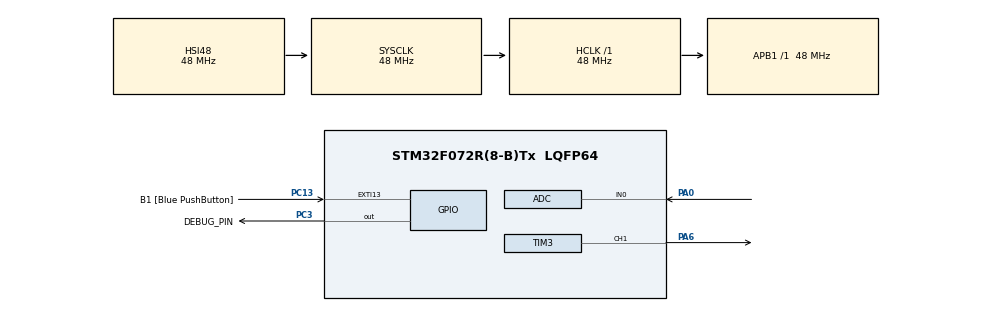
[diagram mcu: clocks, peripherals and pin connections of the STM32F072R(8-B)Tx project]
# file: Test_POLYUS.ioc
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ADC.DMAContinuousRequests=DISABLE
ADC.ExternalTrigConv=ADC_EXTERNALTRIGCONV_T2_TRGO
ADC.SamplingTime=ADC_SAMPLETIME_1CYCLE_5
Dma.ADC.0.Direction=DMA_PERIPH_TO_MEMORY
Dma.ADC.0.Instance=DMA1_Channel1
Dma.ADC.0.MemDataAlignment=DMA_MDATAALIGN_HALFWORD
Dma.ADC.0.MemInc=DMA_MINC_ENABLE
Dma.ADC.0.Mode=DMA_CIRCULAR
Dma.ADC.0.PeriphDataAlignment=DMA_PDATAALIGN_HALFWORD
Dma.ADC.0.PeriphInc=DMA_PINC_DISABLE
Dma.ADC.0.Priority=DMA_PRIORITY_LOW
Dma.Request0=ADC
Mcu.Family=STM32F0
Mcu.Name=STM32F072R(8-B)Tx
Mcu.Package=LQFP64
NVIC.DMA1_Channel1_IRQn=true\:0\:0\:false\:false\:true\:false\:true\:true
PA0.Mode=IN0
PA0.Signal=ADC_IN0
PA13.GPIO_Label=TMS
PA13.Mode=Serial_Wire
PA13.Signal=SYS_SWDIO
PA14.GPIO_Label=TCK
PA14.Mode=Serial_Wire
PA14.Signal=SYS_SWCLK
PA6.Signal=S_TIM3_CH1
PC13.GPIO_Label=B1 [Blue PushButton]
PC13.GPIO_ModeDefaultEXTI=GPIO_MODE_IT_FALLING
PC13.Signal=GPXTI13
PC3.GPIO_Label=DEBUG_PIN
PC3.Signal=GPIO_Output
ProjectManager.HeapSize=0x200
ProjectManager.StackSize=0x400
ProjectManager.TargetToolchain=MDK-ARM V5.32
RCC.AHBFreq_Value=48000000
RCC.APB1Freq_Value=48000000
RCC.APB1TimFreq_Value=48000000
RCC.FLatency-AdvancedSettings=FLASH_LATENCY_1
RCC.HCLKFreq_Value=48000000
RCC.PLLMUL=RCC_PLL_MUL6
RCC.PREFETCH_ENABLE-AdvancedSettings=1
RCC.SYSCLKFreq_VALUE=48000000
RCC.SYSCLKSource=RCC_SYSCLKSOURCE_HSI48
SH.S_TIM3_CH1.0=TIM3_CH1,PWM Generation1 CH1
TIM2.AutoReloadPreload=TIM_AUTORELOAD_PRELOAD_ENABLE
TIM2.Period=9599
TIM2.Prescaler=0
TIM2.TIM_MasterOutputTrigger=TIM_TRGO_UPDATE
TIM2.TIM_MasterSlaveMode=TIM_MASTERSLAVEMODE_DISABLE
TIM3.AutoReloadPreload=TIM_AUTORELOAD_PRELOAD_ENABLE
TIM3.Channel-PWM\ Generation1\ CH1=TIM_CHANNEL_1
TIM3.OC1Preload_PWM=DISABLE
TIM3.Period=8192-1
TIM3.Prescaler=234
TIM3.Pulse-PWM\ Generation1\ CH1=0
TIM3.TIM_MasterOutputTrigger=TIM_TRGO_RESET
VP_TIM2_VS_ClockSourceINT.Mode=Internal
VP_TIM3_VS_ClockSourceINT.Mode=Internal
board=custom

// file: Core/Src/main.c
/* USER CODE BEGIN Header */
/**
 * \file    main.c
 * \brief Файл содержащий функцию основного цикла.
 * \author  Балюра Д.Е.
 * \version 1.00 Текущая ()
 */
/* USER CODE END Header */
#include "main.h"

/* USER CODE BEGIN Includes */
#include "stdbool.h"
#include "stdio.h"
#include "EventRecorder.h"

/* USER CODE END Includes */

/* USER CODE BEGIN PD */

uint16_t ADC_Data[ADC_NUM_AVERAGE];
/* USER CODE END PD */

/* USER CODE BEGIN PM */
#define ADC_REF 3300							///< Опорное значение АЦП в мВ
#define ADC_KOD_MAX 4095					///< Максимальное значение АЦП
/* USER CODE END PM */

TIM_HandleTypeDef htim2; 						///< Структура переменных для настройки таймера 2
TIM_HandleTypeDef htim3;						///< Структура переменных для настройки таймера 3

/* USER CODE BEGIN PV */

bool DebugReady =false;							///< Флаг готовности данных для вывода в терминал
uint16_t ADC_Data[ADC_NUM_AVERAGE]; ///< Массив полученных данных от АЦП
uint32_t AverageValue = 0;					///< Среднее значение АЦП за 20 мс
uint32_t sumADC =0 ;								///< Сумма для расчета среднего значения кода АЦП за 20мс
uint32_t sumU = 0 ;								  ///< Сумма для расчета среднего значения напряжения
uint32_t Uavg = 0 ; 		 						///< Среднее значение напряжения
uint8_t debug_cnt = 0; 						 	///< Счетчик для расчета среднего за 1 сек
uint32_t cnt_meas = 0; 							///< Счетчик измерений, необходим для вывода в окно терминала
/* USER CODE END PV */

void SystemClock_Config(void);
static void MX_GPIO_Init(void);
static void MX_DMA_Init(void);
static void MX_ADC_Init(void);
static void MX_TIM2_Init(void);
static void MX_TIM3_Init(void);

/* USER CODE BEGIN 0 */

/* USER CODE BEGIN 1 */
/** @brief Функция управления DMA модулем
 * @param [in] enable выводимый символ
 */
void DMA_Control(bool enable)
{
	if (enable)
	{
		LL_DMA_EnableIT_TC(DMA1, LL_DMA_CHANNEL_1);
	  LL_DMA_EnableChannel(DMA1, LL_DMA_CHANNEL_1);
	}
	else
	{
		LL_DMA_DisableChannel(DMA1, LL_DMA_CHANNEL_1);
		LL_DMA_DisableIT_TC(DMA1, LL_DMA_CHANNEL_1);
	}
}
/* USER CODE BEGIN 1 */
/** @brief Функция сброса DMA модуля и настройки количества измерений с адресом массива для сохранения результатов от АЦП
  */
void DMA_Reset(void)
{
	/// Выключаем DMA
	DMA_Control(false);
	/// Настраиваем количество измерений и номер канала
	LL_DMA_SetDataLength(DMA1, LL_DMA_CHANNEL_1, ADC_NUM_AVERAGE);
	/// Устанавливаем начальный адрес массива для сохранения результатов
  LL_DMA_SetMemoryAddress(DMA1, LL_DMA_CHANNEL_1, (uint32_t)ADC_Data);
	/// Включаем DMA
	DMA_Control(true);
}
/** @brief Функция расчета средних значений, вызывается из прерывания по готовности данных
*/
void AverageCalculation(void)
{
uint8_t i;
	DMA_Reset();					///Устанавливаем количество значений и адрес куда отправлять данные из АЦП.
	LL_ADC_REG_StartConversion(ADC1);
	sumADC = 0;
	for(i=0;i<ADC_NUM_AVERAGE;i++)
	 sumADC+=ADC_Data[i];
	AverageValue =sumADC / ADC_NUM_AVERAGE;
	htim3.Instance->CCR1 = AverageValue;    ///Обновляем значение PWM
	if(debug_cnt>=49)
	{
	Uavg = sumU / 50;   ///Считаем среднее за 1 сек
	DebugReady = true;  ///Устанавливаем флаг готовности выдачи данных в терминал
	debug_cnt = 0;
	sumU = 0;
	}
	else
	{
	debug_cnt++;
	}
		sumU += AverageValue ; //Считаем сумму для расчета среднего за 1 сек
}
/* USER CODE END 0 */

/**
  * @brief  Файл содержащий функцию основного цикла.
  * @retval int
  */
int main(void)
{
  /* USER CODE BEGIN 1 */
	EventRecorderInitialize(EventRecordAll,1); //Инициализация EventRecorder необходим для работы printf
  /* USER CODE END 1 */

  /* MCU Configuration--------------------------------------------------------*/

  /* Reset of all peripherals, Initializes the Flash interface and the Systick. */
  HAL_Init();

  /* Configure the system clock */
  SystemClock_Config();

  /* Initialize all configured peripherals */
  MX_GPIO_Init();
  MX_DMA_Init();
  MX_ADC_Init();
  MX_TIM2_Init();
  MX_TIM3_Init();
  /* USER CODE BEGIN 2 */
	DMA_Reset();											///Устанавливаем количество значений и адрес куда отправлять данные из АЦП.
	LL_ADC_Enable(ADC1);							///Включаем АЦП
	LL_ADC_REG_StartConversion(ADC1); ///Старт преобразования АЦП
	HAL_TIM_Base_Start(&htim2);			 ///Старт таймера 2
	HAL_TIM_Base_Start_IT(&htim3);	 ///Старт таймера 3
	HAL_TIM_PWM_Start(&htim3,TIM_CHANNEL_1); //Таймер 3 используем для ШИМ, стартуем с 0 значением длительности импулься
  /* USER CODE END 2 */

  /* Infinite loop */
  /* USER CODE BEGIN WHILE */
  while (1)
  {
		if(DebugReady) ///Проверяем готовность вывода в терминал
		{
		printf("%u Voltage average: %u mV\r", ++cnt_meas, ADC_REF * Uavg/ADC_KOD_MAX);
		DebugReady = false;

		}
    /* USER CODE END WHILE */

  }
}

/**
  * @brief Конфигурация системных часов.
  */
void SystemClock_Config(void)
{
  RCC_OscInitTypeDef RCC_OscInitStruct = {0};
  RCC_ClkInitTypeDef RCC_ClkInitStruct = {0};

  /** Initializes the RCC Oscillators according to the specified parameters
  * in the RCC_OscInitTypeDef structure.
  */
  RCC_OscInitStruct.OscillatorType = RCC_OSCILLATORTYPE_HSI14|RCC_OSCILLATORTYPE_HSI48;
  RCC_OscInitStruct.HSI48State = RCC_HSI48_ON;
  RCC_OscInitStruct.HSI14State = RCC_HSI14_ON;
  RCC_OscInitStruct.HSI14CalibrationValue = 16;
  RCC_OscInitStruct.PLL.PLLState = RCC_PLL_NONE;
  if (HAL_RCC_OscConfig(&RCC_OscInitStruct) != HAL_OK)
  {
    Error_Handler();
  }

  /** Initializes the CPU, AHB and APB buses clocks
  */
  RCC_ClkInitStruct.ClockType = RCC_CLOCKTYPE_HCLK|RCC_CLOCKTYPE_SYSCLK
                              |RCC_CLOCKTYPE_PCLK1;
  RCC_ClkInitStruct.SYSCLKSource = RCC_SYSCLKSOURCE_HSI48;
  RCC_ClkInitStruct.AHBCLKDivider = RCC_SYSCLK_DIV1;
  RCC_ClkInitStruct.APB1CLKDivider = RCC_HCLK_DIV1;

  if (HAL_RCC_ClockConfig(&RCC_ClkInitStruct, FLASH_LATENCY_1) != HAL_OK)
  {
    Error_Handler();
  }
}

static void MX_ADC_Init(void)
{

  LL_ADC_InitTypeDef ADC_InitStruct = {0};
  LL_ADC_REG_InitTypeDef ADC_REG_InitStruct = {0};

  LL_GPIO_InitTypeDef GPIO_InitStruct = {0};

  /* Peripheral clock enable */
  LL_APB1_GRP2_EnableClock(LL_APB1_GRP2_PERIPH_ADC1);

  LL_AHB1_GRP1_EnableClock(LL_AHB1_GRP1_PERIPH_GPIOA);
  /**ADC GPIO Configuration
  PA0   ------> ADC_IN0
  */
  GPIO_InitStruct.Pin = LL_GPIO_PIN_0;
  GPIO_InitStruct.Mode = LL_GPIO_MODE_ANALOG;
  GPIO_InitStruct.Pull = LL_GPIO_PULL_NO;
  LL_GPIO_Init(GPIOA, &GPIO_InitStruct);

  /* ADC DMA Init */

  /* ADC Init */
  LL_DMA_SetDataTransferDirection(DMA1, LL_DMA_CHANNEL_1, LL_DMA_DIRECTION_PERIPH_TO_MEMORY);

  LL_DMA_SetChannelPriorityLevel(DMA1, LL_DMA_CHANNEL_1, LL_DMA_PRIORITY_LOW);

  LL_DMA_SetMode(DMA1, LL_DMA_CHANNEL_1, LL_DMA_MODE_CIRCULAR);

  LL_DMA_SetPeriphIncMode(DMA1, LL_DMA_CHANNEL_1, LL_DMA_PERIPH_NOINCREMENT);

  LL_DMA_SetMemoryIncMode(DMA1, LL_DMA_CHANNEL_1, LL_DMA_MEMORY_INCREMENT);

  LL_DMA_SetPeriphSize(DMA1, LL_DMA_CHANNEL_1, LL_DMA_PDATAALIGN_HALFWORD);

  LL_DMA_SetMemorySize(DMA1, LL_DMA_CHANNEL_1, LL_DMA_MDATAALIGN_HALFWORD);

  /* USER CODE BEGIN ADC_Init 1 */

	LL_ADC_StartCalibration(ADC1);

	while (LL_ADC_IsCalibrationOnGoing(ADC1))
  {
	}
	LL_DMA_SetPeriphAddress(DMA1, LL_DMA_CHANNEL_1, (uint32_t)&(ADC1->DR));
  /* USER CODE END ADC_Init 1 */

  /** Configure Regular Channel
  */
  LL_ADC_REG_SetSequencerChAdd(ADC1, LL_ADC_CHANNEL_0);

  /** Configure the global features of the ADC (Clock, Resolution, Data Alignment and number of conversion)
  */
  ADC_InitStruct.Clock = LL_ADC_CLOCK_ASYNC;
  ADC_InitStruct.Resolution = LL_ADC_RESOLUTION_12B;
  ADC_InitStruct.DataAlignment = LL_ADC_DATA_ALIGN_RIGHT;
  ADC_InitStruct.LowPowerMode = LL_ADC_LP_MODE_NONE;
  LL_ADC_Init(ADC1, &ADC_InitStruct);
  ADC_REG_InitStruct.TriggerSource = LL_ADC_REG_TRIG_EXT_TIM2_TRGO;
  ADC_REG_InitStruct.SequencerDiscont = LL_ADC_REG_SEQ_DISCONT_DISABLE;
  ADC_REG_InitStruct.ContinuousMode = LL_ADC_REG_CONV_SINGLE;
  ADC_REG_InitStruct.DMATransfer = LL_ADC_REG_DMA_TRANSFER_LIMITED;
  ADC_REG_InitStruct.Overrun = LL_ADC_REG_OVR_DATA_PRESERVED;
  LL_ADC_REG_Init(ADC1, &ADC_REG_InitStruct);
  LL_ADC_REG_SetSequencerScanDirection(ADC1, LL_ADC_REG_SEQ_SCAN_DIR_FORWARD);
  LL_ADC_SetSamplingTimeCommonChannels(ADC1, LL_ADC_SAMPLINGTIME_1CYCLE_5);
  LL_ADC_REG_SetTriggerEdge(ADC1, LL_ADC_REG_TRIG_EXT_RISING);

}

static void MX_TIM2_Init(void)
{

  TIM_ClockConfigTypeDef sClockSourceConfig = {0};
  TIM_MasterConfigTypeDef sMasterConfig = {0};

  htim2.Instance = TIM2;
  htim2.Init.Prescaler = 0;
  htim2.Init.CounterMode = TIM_COUNTERMODE_UP;
  htim2.Init.Period = 9599;
  htim2.Init.ClockDivision = TIM_CLOCKDIVISION_DIV1;
  htim2.Init.AutoReloadPreload = TIM_AUTORELOAD_PRELOAD_ENABLE;
  if (HAL_TIM_Base_Init(&htim2) != HAL_OK)
  {
    Error_Handler();
  }
  sClockSourceConfig.ClockSource = TIM_CLOCKSOURCE_INTERNAL;
  if (HAL_TIM_ConfigClockSource(&htim2, &sClockSourceConfig) != HAL_OK)
  {
    Error_Handler();
  }
  sMasterConfig.MasterOutputTrigger = TIM_TRGO_UPDATE;
  sMasterConfig.MasterSlaveMode = TIM_MASTERSLAVEMODE_DISABLE;
  if (HAL_TIMEx_MasterConfigSynchronization(&htim2, &sMasterConfig) != HAL_OK)
  {
    Error_Handler();
  }

}

static void MX_TIM3_Init(void)
{

  TIM_ClockConfigTypeDef sClockSourceConfig = {0};
  TIM_MasterConfigTypeDef sMasterConfig = {0};
  TIM_OC_InitTypeDef sConfigOC = {0};

  htim3.Instance = TIM3;
  htim3.Init.Prescaler = 234;
  htim3.Init.CounterMode = TIM_COUNTERMODE_UP;
  htim3.Init.Period = 8192-1;
  htim3.Init.ClockDivision = TIM_CLOCKDIVISION_DIV1;
  htim3.Init.AutoReloadPreload = TIM_AUTORELOAD_PRELOAD_ENABLE;
  if (HAL_TIM_Base_Init(&htim3) != HAL_OK)
  {
    Error_Handler();
  }
  sClockSourceConfig.ClockSource = TIM_CLOCKSOURCE_INTERNAL;
  if (HAL_TIM_ConfigClockSource(&htim3, &sClockSourceConfig) != HAL_OK)
  {
    Error_Handler();
  }
  if (HAL_TIM_PWM_Init(&htim3) != HAL_OK)
  {
    Error_Handler();
  }
  sMasterConfig.MasterOutputTrigger = TIM_TRGO_RESET;
  sMasterConfig.MasterSlaveMode = TIM_MASTERSLAVEMODE_DISABLE;
  if (HAL_TIMEx_MasterConfigSynchronization(&htim3, &sMasterConfig) != HAL_OK)
  {
    Error_Handler();
  }
  sConfigOC.OCMode = TIM_OCMODE_PWM1;
  sConfigOC.Pulse = 0;
  sConfigOC.OCPolarity = TIM_OCPOLARITY_HIGH;
  sConfigOC.OCFastMode = TIM_OCFAST_DISABLE;
  if (HAL_TIM_PWM_ConfigChannel(&htim3, &sConfigOC, TIM_CHANNEL_1) != HAL_OK)
  {
    Error_Handler();
  }
  __HAL_TIM_DISABLE_OCxPRELOAD(&htim3, TIM_CHANNEL_1);
  HAL_TIM_MspPostInit(&htim3);

}

static void MX_DMA_Init(void)
{

  /* DMA controller clock enable */
  __HAL_RCC_DMA1_CLK_ENABLE();

  /* DMA interrupt init */
  /* DMA1_Channel1_IRQn interrupt configuration */
  NVIC_SetPriority(DMA1_Channel1_IRQn, 0);
  NVIC_EnableIRQ(DMA1_Channel1_IRQn);

}

static void MX_GPIO_Init(void)
{
  GPIO_InitTypeDef GPIO_InitStruct = {0};

  /* GPIO Ports Clock Enable */
  __HAL_RCC_GPIOC_CLK_ENABLE();
  __HAL_RCC_GPIOA_CLK_ENABLE();

  /*Configure GPIO pin Output Level */
  HAL_GPIO_WritePin(DEBUG_PIN_GPIO_Port, DEBUG_PIN_Pin, GPIO_PIN_RESET);

  /*Configure GPIO pin : B1_Pin */
  GPIO_InitStruct.Pin = B1_Pin;
  GPIO_InitStruct.Mode = GPIO_MODE_IT_FALLING;
  GPIO_InitStruct.Pull = GPIO_NOPULL;
  HAL_GPIO_Init(B1_GPIO_Port, &GPIO_InitStruct);

  /*Configure GPIO pin : DEBUG_PIN_Pin */
  GPIO_InitStruct.Pin = DEBUG_PIN_Pin;
  GPIO_InitStruct.Mode = GPIO_MODE_OUTPUT_PP;
  GPIO_InitStruct.Pull = GPIO_NOPULL;
  GPIO_InitStruct.Speed = GPIO_SPEED_FREQ_LOW;
  HAL_GPIO_Init(DEBUG_PIN_GPIO_Port, &GPIO_InitStruct);

}

/**
  * @brief  Эта функция выполняется в случае возникновения ошибки.
  */
void Error_Handler(void)
{
  __disable_irq();
  while (1)
  {
  }
}
